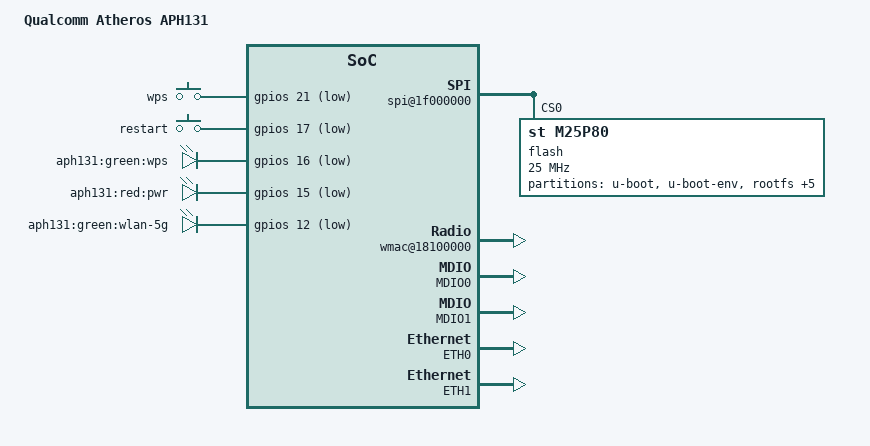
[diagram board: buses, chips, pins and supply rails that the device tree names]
/*
 * Copyright (c) 2013 The Linux Foundation. All rights reserved.
 *
 * This program is free software; you can redistribute it and/or modify it
 * under the terms of the GNU General Public License version 2 as published
 * by the Free Software Foundation.
 */

/dts-v1/;

/ {
	model = "Qualcomm Atheros APH131";
	compatible = "ath79,aph131";
	#address-cells = <1>;
	#size-cells = <1>;
	interrupt-parent = <&vic>;

	gpios: ath79-gpio {
		#gpio-cells = <2>;
		gpio-controller;
	};

	ahb {
		compatible = "simple-bus";
		#address-cells = <1>;
		#size-cells = <1>;
		ranges;

		vic: intc {
			compatible = "interrupt-controller";
			interrupt-controller;
			#interrupt-cells = <1>;
		};

		spi@1f000000 {
			compatible = "qcom,ag71xx-spi";	 /* master */
			#address-cells = <1>;
			#size-cells = <0>;
			reg = <0x1f000000 0x01000000>;

			flash: m25p80@0 {
				compatible = "st,m25p80";	/* modalias */
				#address-cells = <1>;
				#size-cells = <1>;
				spi-max-frequency = <25000000>; /* max_speed_hz */
				reg = <0>;			/* chip_select */
				spi-controller-data = <1 0 0>;  /* is_flash cs_type cs_line */

				partition@u-boot {
					label = "u-boot";
					reg = <0x00000000 0x00040000>;
                                        read-only;
                                };
				partition@u-boot-env {
					label = "u-boot-env";
					reg = <0x00040000 0x00010000>;
                                        read-only;
                                };
                                partition@rootfs {
                                        label = "rootfs";
                                        reg = <0x00050000 0x00620000>;
                                };
                                partition@kernel {
                                        label = "kernel";
                                        reg = <0x00670000 0x00160000>;
                                        read-only;
                                };
                                partition@pib {
                                        label = "pib";
                                        reg = <0x007d0000 0x00010000>;
                                };
                                partition@dtb {
                                        label = "dtb";
                                        reg = <0x007e0000 0x00010000>;
                                        read-only;
                                };
                                partition@art {
                                        label = "art";
                                        reg = <0x007f0000 0x00010000>;
                                        read-only;
                                };
                                partition@firmware {
                                        label = "firmware";
                                        reg = <0x00050000 0x00780000>;
                                };
			};
		};

		wmac@18100000 {
			compatible = "qcom,ag71xx-wmac";
			reg = <0x18100000 0x20000>;
			interrupts = <47>;
			interrupt-parent = <&vic>;
		};

		MDIO0: mdio@19000000 {
			compatible = "qcom,ag71xx-mdio";
			reg = <0x19000000 0x200>;
			reg-names = "mdio_base";
		};

		MDIO1: mdio@1a000000 {
			compatible = "qcom,ag71xx-mdio";
			reg = <0x1a000000 0x200>;
			reg-names = "mdio_base";

			bi-phy-addr = <5>;
		};

		ETH0: ethernet@19000000 { /* PLC */
			compatible = "qcom,ag71xx-eth";
			reg = <0x19000000 0x200>,
			      <0x18070000 0x40>;
			reg-names = "mac_base",
				"cfg_base";
			interrupts = <4>;
			interrupt-names = "mac_irq";
			interrupt-parent = <&vic>;
			mdio-handle = <&MDIO0>;

			eth-cfg = <0x00000012>; /* MII_GE0_SLAVE | MII_GMAC0 */
			eth-phy-cfg = <1 0 100 1>; /* phy_if_mode:MII phy_mask:0 speed:100M duplex:DUPLEX_FULL */
		};

		ETH1: ethernet@1a000000 { /* G PHY */
			compatible = "qcom,ag71xx-eth";
			reg = <0x1a000000 0x200>;
			reg-names = "mac_base";
			interrupts = <5>;
			interrupt-names = "mac_irq";
			interrupt-parent = <&vic>;
			mdio-handle = <&MDIO1>;

			eth-phy-cfg = <3 0x20 1000 1>; /* phy_if_mode:SGMII phy_mask:bit(5) speed:1G duplex:DUPLEX_FULL */
			eth-pll-data = <0 0 0x06000000>; /* pll_10 pll_100 pll_1000 */
		};
	};

	gpio-keys {
		compatible = "gpio-keys";
		#address-cells = <1>;
		#size-cells = <0>;

		wps {
			label = "wps";
			gpios = <&gpios 21 1>;
			linux,code = <529>; /* KEY_WPS_BUTTON */
			debounce-interval = <60>;
		};

		restart {
			label = "restart";
			gpios = <&gpios 17 1>;
			linux,code = <408>; /* KEY_RESTART */
			debounce-interval = <60>;
		};
	};

	gpio-leds {
		compatible = "gpio-leds";

		wps { /* reused by pwr-green */
			label = "aph131:green:wps";
			gpios = <&gpios 16 1>;
			linux,default-trigger = "default-on";
		};

		pwr-red {
			label = "aph131:red:pwr";
			gpios = <&gpios 15 1>;
			default-state = "off";
		};

		wlan5g {
			label = "aph131:green:wlan-5g";
			gpios = <&gpios 12 1>;
			default-state = "off";
		};
	};
};
